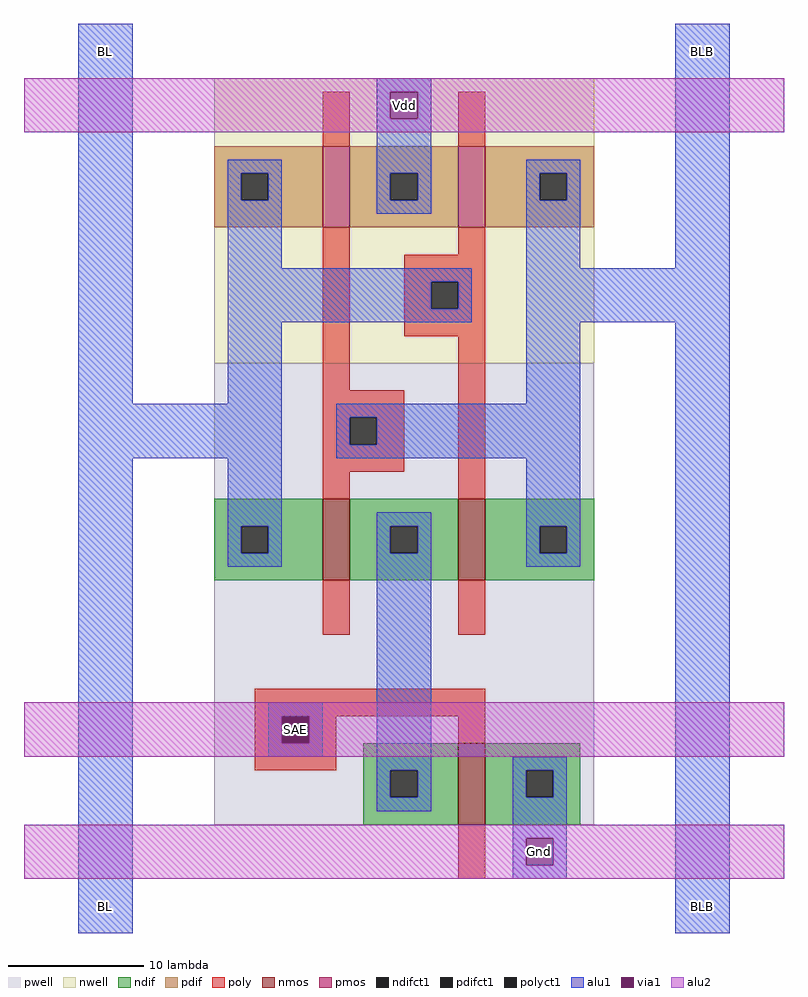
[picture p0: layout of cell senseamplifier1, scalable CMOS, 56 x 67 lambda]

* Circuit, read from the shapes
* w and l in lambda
.subckt senseamplifier1 BL BLB Gnd SAE Vdd
M1 n1 BLB BL VSUBS nfet w=6 l=2
M2 Gnd SAE n1 VSUBS nfet w=6 l=2
M3 BLB BL n1 VSUBS nfet w=6 l=2
M4 Vdd BLB BL n2 pfet w=6 l=2
M5 BLB BL Vdd n2 pfet w=6 l=2
.ends

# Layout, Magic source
magic
tech scmos
<< nwell >>
rect -14 0 14 21
<< pwell >>
rect -14 -34 14 0
<< poly >>
rect -6 16 -4 20
rect 4 16 6 20
rect -6 -2 -4 10
rect 4 8 6 10
rect 0 6 6 8
rect 0 4 2 6
rect 4 4 6 6
rect 0 2 6 4
rect -6 -4 0 -2
rect -6 -6 -4 -4
rect -2 -6 0 -4
rect -6 -8 0 -6
rect -6 -10 -4 -8
rect 4 -10 6 2
rect -6 -20 -4 -16
rect 4 -20 6 -16
rect -11 -26 6 -24
rect -11 -28 -9 -26
rect -7 -28 -5 -26
rect 4 -28 6 -26
rect -11 -30 -5 -28
rect 4 -38 6 -34
<< ndif >>
rect -14 -12 -6 -10
rect -14 -14 -12 -12
rect -10 -14 -6 -12
rect -14 -16 -6 -14
rect -4 -12 4 -10
rect -4 -14 -1 -12
rect 1 -14 4 -12
rect -4 -16 4 -14
rect 6 -12 14 -10
rect 6 -14 10 -12
rect 12 -14 14 -12
rect 6 -16 14 -14
rect -3 -30 4 -28
rect -3 -32 -1 -30
rect 1 -32 4 -30
rect -3 -34 4 -32
rect 6 -30 13 -28
rect 6 -32 9 -30
rect 11 -32 13 -30
rect 6 -34 13 -32
<< pdif >>
rect -14 14 -6 16
rect -14 12 -12 14
rect -10 12 -6 14
rect -14 10 -6 12
rect -4 14 4 16
rect -4 12 -1 14
rect 1 12 4 14
rect -4 10 4 12
rect 6 14 14 16
rect 6 12 10 14
rect 12 12 14 14
rect 6 10 14 12
<< alu1 >>
rect -24 -3 -20 25
rect -2 20 2 21
rect -2 18 -1 20
rect 1 18 2 20
rect -13 14 -9 15
rect -13 12 -12 14
rect -10 12 -9 14
rect -13 7 -9 12
rect -2 14 2 18
rect -2 12 -1 14
rect 1 12 2 14
rect -2 11 2 12
rect 9 14 13 15
rect 9 12 10 14
rect 12 12 13 14
rect 9 7 13 12
rect 20 7 24 25
rect -13 6 5 7
rect -13 4 2 6
rect 4 4 5 6
rect -13 3 5 4
rect 9 3 24 7
rect -13 -3 -9 3
rect 9 -3 13 3
rect -24 -7 -9 -3
rect -5 -4 13 -3
rect -5 -6 -4 -4
rect -2 -6 13 -4
rect -5 -7 13 -6
rect -24 -42 -20 -7
rect -13 -12 -9 -7
rect -13 -14 -12 -12
rect -10 -14 -9 -12
rect -13 -15 -9 -14
rect -2 -12 2 -11
rect -2 -14 -1 -12
rect 1 -14 2 -12
rect -10 -26 -6 -25
rect -10 -28 -9 -26
rect -7 -28 -6 -26
rect -10 -29 -6 -28
rect -2 -30 2 -14
rect 9 -12 13 -7
rect 9 -14 10 -12
rect 12 -14 13 -12
rect 9 -15 13 -14
rect -2 -32 -1 -30
rect 1 -32 2 -30
rect -2 -33 2 -32
rect 8 -30 12 -29
rect 8 -32 9 -30
rect 11 -32 12 -30
rect 8 -35 12 -32
rect 8 -37 9 -35
rect 11 -37 12 -35
rect 8 -38 12 -37
rect 20 -42 24 3
<< alu2 >>
rect -28 20 28 21
rect -28 18 -1 20
rect 1 18 28 20
rect -28 17 28 18
rect -28 -26 28 -25
rect -28 -28 -9 -26
rect -7 -28 28 -26
rect -28 -29 28 -28
rect -28 -35 28 -34
rect -28 -37 9 -35
rect 11 -37 28 -35
rect -28 -38 28 -37
<< nmos >>
rect -6 -16 -4 -10
rect 4 -16 6 -10
rect 4 -34 6 -28
<< pmos >>
rect -6 10 -4 16
rect 4 10 6 16
<< polyct1 >>
rect 2 4 4 6
rect -4 -6 -2 -4
rect -9 -28 -7 -26
<< ndifct1 >>
rect -12 -14 -10 -12
rect -1 -14 1 -12
rect 10 -14 12 -12
rect -1 -32 1 -30
rect 9 -32 11 -30
<< pdifct1 >>
rect -12 12 -10 14
rect -1 12 1 14
rect 10 12 12 14
<< via1 >>
rect -1 18 1 20
rect -9 -28 -7 -26
rect 9 -37 11 -35
<< labels >>
rlabel via1 -8 -27 -8 -27 1 SAE
rlabel via1 10 -36 10 -36 1 Gnd
rlabel via1 0 19 0 19 1 Vdd
rlabel alu1 -22 23 -22 23 5 BL
rlabel alu1 22 23 22 23 5 BLB
rlabel alu1 -22 -40 -22 -40 1 BL
rlabel alu1 22 -40 22 -40 1 BLB
<< end >>
